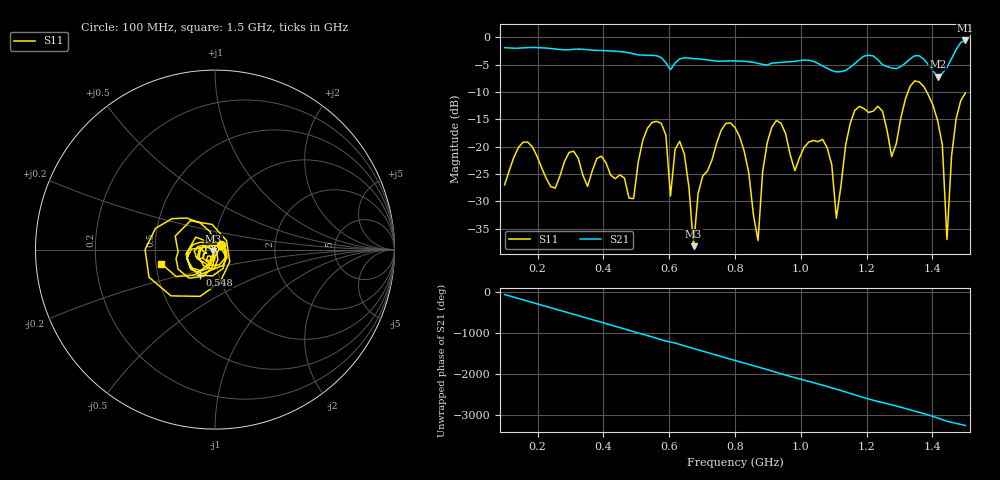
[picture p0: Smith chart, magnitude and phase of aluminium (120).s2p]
! NanoVNA-App
! Date: 2025-09-26 09:58:59
! Start: 100MHz Stop: 1,5GHz Points: 101
! S-Parameter data: F S11 S21 S12 S22
# Hz S RI R 50
!  Frequency  S11_Real  S11_Imag  S21_Real  S21_Imag  S12_Real  S12_Imag  S22_Real  S22_Imag
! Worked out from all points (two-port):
!   101 points, 100 MHz to 1.5 GHz, reference 50 ohm
!   highest |S21| = -0.61 dB at 1.5 GHz (marker M1); lowest = -7.2 dB at 1.416 GHz (marker M2)
!   |S21| within 3 dB of the highest: start of sweep to 571.1 MHz; 1.189 GHz to 1.223 GHz (34.82 MHz wide, 2.89 % of centre) (the widest 2 of 4)
!   lowest |S11| = -38.2 dB at 674 MHz (marker M3), VSWR 1.03, Z = 49 - j0.687 ohm
!   |S11| at or under -10 dB: start of sweep to 1.326 GHz; 1.382 GHz to end of sweep
!   S12 and S22 are empty: the file has one direction only
!   S11 on the Smith chart (normalised r, x): 100 MHz: 1.07, +0.06; 548 MHz: 0.81, -0.24; 1.5 GHz: 0.53, -0.09
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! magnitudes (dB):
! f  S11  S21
! 100 MHz  -27.0  -1.9
! 156 MHz  -19.2  -2.0
! 338 MHz  -25.2  -2.2
! 492 MHz  -29.5  -3.1
! 548 MHz  -15.6  -3.3
! 576 MHz  -15.7  -3.7
! 604 MHz  -29.0  -5.9
! 646 MHz  -21.3  -3.8
! 674 MHz  -38.2  -3.9
! 702 MHz  -25.3  -4.1
! 800 MHz  -16.5  -4.3
! 870 MHz  -37.1  -4.8
! 912 MHz  -16.4  -4.7
! 1.038 GHz  -18.9  -4.4
! 1.108 GHz  -33.0  -6.3
! 1.164 GHz  -13.4  -4.8
! 1.276 GHz  -21.8  -5.7
! 1.346 GHz  -8.0  -3.4
! 1.416 GHz  -15.3  -7.2
! 1.444 GHz  -37.0  -5.6
! 1.472 GHz  -14.9  -2.3
! 1.5 GHz  -10.2  -0.6
